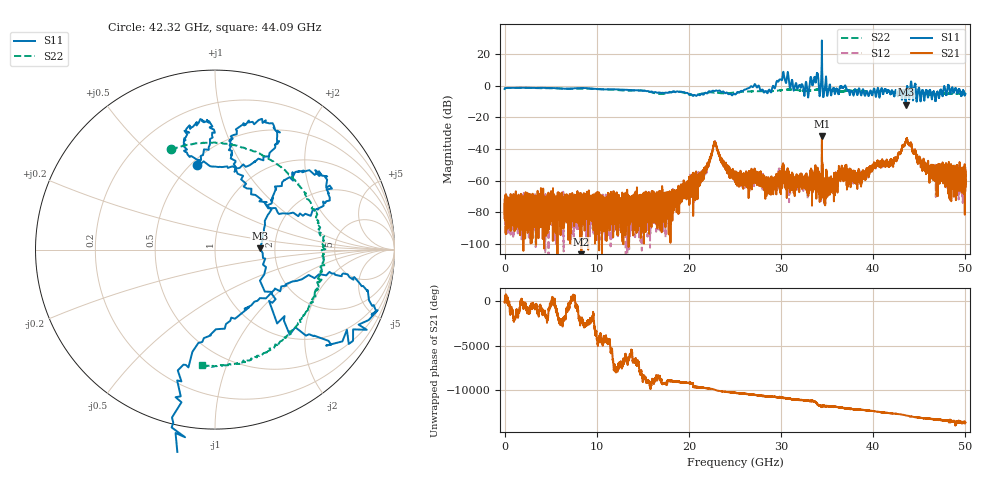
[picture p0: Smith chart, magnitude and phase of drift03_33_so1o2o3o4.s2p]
!Created with skrf (http://scikit-rf.org).
# Hz S RI R 50.0
!freq ReS11 ImS11 ReS21 ImS21 ReS12 ImS12 ReS22 ImS22
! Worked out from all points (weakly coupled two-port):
!   10000 points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, 5.3 MHz to 50 GHz, reference 50 ohm
!   highest |S21| = -31.71 dB at 34.43 GHz (marker M1); lowest = -124.7 dB at 8.33 GHz (marker M2)
!   lowest |S11| = -12.0 dB at 43.52 GHz (marker M3), VSWR 1.67, Z = 83.3 + j1.14 ohm
!   |S11| at or under -10 dB: 43.48734 GHz to 43.55613 GHz (68.79 MHz wide, 0.158 % of centre); 44.70864 GHz to 44.71119 GHz (2.547 MHz wide, 0.0057 % of centre)
!   |S22| runs from -5.9 to -1.3 dB; largest |S21 - S12| = 0.014
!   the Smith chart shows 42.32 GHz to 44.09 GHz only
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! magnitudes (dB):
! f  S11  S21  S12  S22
! 5.3 MHz  -2.1  -72.0  -80.4  -2.1
! 8.33 GHz  -1.5  -124.7  -82.2  -1.9
! 8.34 GHz  -1.5  -87.5  -75.4  -1.9
! 16.67 GHz  -4.4  -70.7  -73.7  -5.2
! 21.13 GHz  -6.0  -61.4  -60.0  -5.4
! 22.82 GHz  -3.4  -35.5  -35.5  -4.5
! 25.01 GHz  -5.5  -54.7  -57.1  -4.2
! 27.02 GHz  -0.4  -55.7  -55.8  -3.5
! 28.86 GHz  -3.8  -62.2  -62.4  -3.5
! 30.14 GHz  4.4  -51.0  -56.9  -2.8
! 32.74 GHz  2.0  -59.9  -58.2  -3.3
! 33.34 GHz  2.5  -61.3  -63.0  -2.9
! 33.82 GHz  4.0  -61.1  -58.8  -2.5
! 34.43 GHz  28.6  -31.7  -36.3  -2.3
! 35.49 GHz  -4.6  -59.5  -59.8  -2.9
! 36.84 GHz  -0.8  -54.0  -57.9  -3.4
! 38.45 GHz  -1.8  -55.0  -57.5  -3.0
! 41.67 GHz  -3.0  -50.7  -49.4  -3.7
! 43.52 GHz  -12.0  -35.1  -35.5  -4.2
! 46.3 GHz  -6.3  -53.5  -53.3  -5.6
! 49.67 GHz  -3.8  -55.6  -59.8  -5.0
! 50 GHz  -5.2  -66.3  -59.5  -4.9
